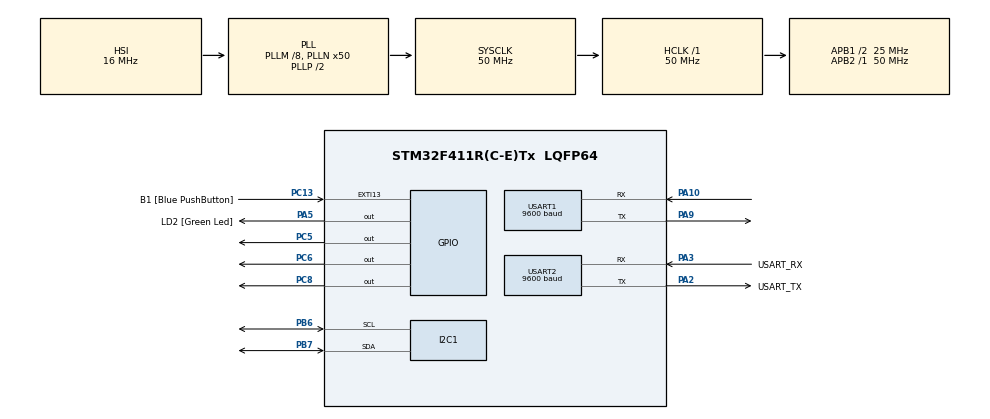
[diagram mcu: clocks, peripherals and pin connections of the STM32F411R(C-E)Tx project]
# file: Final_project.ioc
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Mcu.Family=STM32F4
Mcu.Name=STM32F411R(C-E)Tx
Mcu.Package=LQFP64
NVIC.PriorityGroup=NVIC_PRIORITYGROUP_0
NVIC.TIM1_TRG_COM_TIM11_IRQn=true\:0\:0\:false\:false\:true\:true\:true
NVIC.TIM1_UP_TIM10_IRQn=true\:0\:0\:false\:false\:true\:true\:true
PA10.Mode=Asynchronous
PA10.Signal=USART1_RX
PA13.GPIO_Label=TMS
PA13.Mode=Serial_Wire
PA13.Signal=SYS_JTMS-SWDIO
PA14.GPIO_Label=TCK
PA14.Mode=Serial_Wire
PA14.Signal=SYS_JTCK-SWCLK
PA2.GPIO_Label=USART_TX
PA2.Mode=Asynchronous
PA2.Signal=USART2_TX
PA3.GPIO_Label=USART_RX
PA3.Mode=Asynchronous
PA3.Signal=USART2_RX
PA5.GPIO_Label=LD2 [Green Led]
PA5.Signal=GPIO_Output
PA9.Mode=Asynchronous
PA9.Signal=USART1_TX
PB3.GPIO_Label=SWO
PB3.Signal=SYS_JTDO-SWO
PB6.Mode=I2C
PB6.Signal=I2C1_SCL
PB7.Mode=I2C
PB7.Signal=I2C1_SDA
PC13-ANTI_TAMP.GPIO_Label=B1 [Blue PushButton]
PC13-ANTI_TAMP.GPIO_ModeDefaultEXTI=GPIO_MODE_IT_FALLING
PC13-ANTI_TAMP.Signal=GPXTI13
PC14-OSC32_IN.Mode=LSE-External-Oscillator
PC14-OSC32_IN.Signal=RCC_OSC32_IN
PC15-OSC32_OUT.Mode=LSE-External-Oscillator
PC15-OSC32_OUT.Signal=RCC_OSC32_OUT
PC5.Signal=GPIO_Output
PC6.Signal=GPIO_Output
PC8.Signal=GPIO_Output
PH0\ -\ OSC_IN.Mode=HSE-External-Clock-Source
PH0\ -\ OSC_IN.Signal=RCC_OSC_IN
PH1\ -\ OSC_OUT.Mode=HSE-External-Clock-Source
PH1\ -\ OSC_OUT.Signal=RCC_OSC_OUT
ProjectManager.HeapSize=0x200
ProjectManager.StackSize=0x400
ProjectManager.TargetToolchain=STM32CubeIDE
RCC.48MHZClocksFreq_Value=25000000
RCC.AHBFreq_Value=50000000
RCC.APB1CLKDivider=RCC_HCLK_DIV2
RCC.APB1Freq_Value=25000000
RCC.APB1TimFreq_Value=50000000
RCC.APB2Freq_Value=50000000
RCC.APB2TimFreq_Value=50000000
RCC.CortexFreq_Value=50000000
RCC.FLatency-AdvancedSettings=FLASH_LATENCY_1
RCC.HCLKFreq_Value=50000000
RCC.HSE_VALUE=8000000
RCC.HSI_VALUE=16000000
RCC.PLLM=8
RCC.PLLN=50
RCC.SYSCLKFreq_VALUE=50000000
RCC.SYSCLKSource=RCC_SYSCLKSOURCE_PLLCLK
RCC.VCOOutputFreq_Value=100000000
TIM10.AutoReloadPreload=TIM_AUTORELOAD_PRELOAD_ENABLE
TIM10.Period=1000-1
TIM10.Prescaler=50000-1
TIM11.AutoReloadPreload=TIM_AUTORELOAD_PRELOAD_ENABLE
TIM11.Period=10000-1
TIM11.Prescaler=5000-1
USART1.BaudRate=9600
USART1.VirtualMode=VM_ASYNC
USART2.BaudRate=9600
USART2.VirtualMode=VM_ASYNC
VP_TIM10_VS_ClockSourceINT.Mode=Enable_Timer
VP_TIM11_VS_ClockSourceINT.Mode=Enable_Timer
board=NUCLEO-F411RE

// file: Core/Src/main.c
/* USER CODE BEGIN Header */
/**
  ******************************************************************************
  * @file           : main.c
  * @brief          : Main program body
  ******************************************************************************
  * @attention
  *
  * Copyright (c) 2022 STMicroelectronics.
  * All rights reserved.
  *
  * This software is licensed under terms that can be found in the LICENSE file
  * in the root directory of this software component.
  * If no LICENSE file comes with this software, it is provided AS-IS.
  *
  ******************************************************************************
  */
/* USER CODE END Header */
#include "main.h"

/* USER CODE BEGIN Includes */
#include "PAJ7620U2.h"
/* USER CODE END Includes */

/* USER CODE BEGIN PD */
#define UBYTE   uint8_t
#define UWORD   uint16_t
#define UDOUBLE uint32_t

/**
* IIC
**/
#define IIC_Addr	0x73<<1

/**
 * delay x ms
**/
#define DEV_Delay_ms(__xms)	HAL_Delay(__xms)
/* USER CODE END PD */

I2C_HandleTypeDef hi2c1;

TIM_HandleTypeDef htim10;
TIM_HandleTypeDef htim11;

UART_HandleTypeDef huart1;
UART_HandleTypeDef huart2;

void SystemClock_Config(void);
static void MX_GPIO_Init(void);
static void MX_USART2_UART_Init(void);
static void MX_I2C1_Init(void);
static void MX_TIM10_Init(void);
static void MX_USART1_UART_Init(void);
static void MX_TIM11_Init(void);

/* USER CODE BEGIN 0 */

unsigned char i;
unsigned short Gesture_Data;
UWORD IIC_Addr_t = IIC_Addr;

void DEV_Set_I2CAddress(UBYTE add_) {
	IIC_Addr_t = add_;
}

/******************************************************************************
function:
	I2C Write and Read
******************************************************************************/
void DEV_I2C_WriteByte(UBYTE add_, UBYTE data_) {
  UBYTE Buf[1] = {0};
  Buf[0] = data_;
  HAL_I2C_Mem_Write(&hi2c1, IIC_Addr_t, add_, I2C_MEMADD_SIZE_8BIT, Buf, 1, 0x10);
}

void DEV_I2C_WriteWord(UBYTE add_, UWORD data_) {
  UBYTE Buf[2] = {0};
  Buf[0] = data_ >> 8;
  Buf[1] = data_;
  HAL_I2C_Mem_Write(&hi2c1, IIC_Addr_t, add_, I2C_MEMADD_SIZE_8BIT, Buf, 2, 0x10);
}

UBYTE DEV_I2C_ReadByte(UBYTE add_) {
  UBYTE Buf[1] = {add_};
  HAL_I2C_Mem_Read(&hi2c1, IIC_Addr_t, add_, I2C_MEMADD_SIZE_8BIT, Buf, 1, 0x10);
  return Buf[0];
}

UWORD DEV_I2C_ReadWord(UBYTE add_) {
  UBYTE Buf[2] = {0, 0};
  HAL_I2C_Mem_Read(&hi2c1, IIC_Addr_t, add_, I2C_MEMADD_SIZE_8BIT, Buf, 2, 0x10);
  return ((Buf[1] << 8) | (Buf[0] & 0xff));
}

unsigned char PAJ7620U2_init() {
	unsigned char i,State;
	DEV_Set_I2CAddress(PAJ7620U2_I2C_ADDRESS);
	DEV_Delay_ms(5);
	State = DEV_I2C_ReadByte(0x00);												//Read State
	if (State != 0x20)
		return 0;																						//Wake up failed
	DEV_I2C_WriteByte(PAJ_BANK_SELECT, 0);								//Select Bank 0
	for (i=0;i< Init_Array;i++) {
		 DEV_I2C_WriteByte(Init_Register_Array[i][0], Init_Register_Array[i][1]);//Power up initialize
	}
	return 1;
}
char statearr[15];
char gesturearr[16];
char valuearr[16];
int value[4] = {0,0,0,0};
int digit[4] = {1000,100,10,1};
int idx=3;
int state=0;
int counter=0;
char sentbuffer[7];
char recievebuffer[3];

void HAL_TIM_PeriodElapsedCallback(TIM_HandleTypeDef *htim) {
	 if (htim ==& htim10) {
		 counter++;
	  } else if (htim == &htim11) {
      if (state == 1) {
        if (counter <= 30) {
          HAL_GPIO_TogglePin(GPIOC, GPIO_PIN_6);
          htim11.Instance->CNT = 0;
        } else if (counter <= 50) {
          HAL_GPIO_TogglePin(GPIOC, GPIO_PIN_6);
          htim11.Instance->CNT = 8000;
        } else if (counter <= 60) {
          HAL_GPIO_TogglePin(GPIOC, GPIO_PIN_6);
          htim11.Instance->CNT = 9000;
        } else {
          resetstate();
        }
      }
	  }
}

void resetstate() {
	HAL_GPIO_WritePin(GPIOC, GPIO_PIN_8, GPIO_PIN_SET);
	HAL_GPIO_WritePin(GPIOC, GPIO_PIN_6, GPIO_PIN_SET);
	HAL_GPIO_WritePin(GPIOC, GPIO_PIN_5, GPIO_PIN_RESET);
	memset(value,0,sizeof(value));
	counter = 0;
	state = 0;
	idx = 3;
}

void check_password() {
	if (state == 1) {
		sprintf(sentbuffer,"2%d%d%d%d%d\n",idx,value[0],value[1],value[2],value[3]);
		HAL_UART_Transmit(&huart1, sentbuffer, sizeof(sentbuffer), 100);
		while (HAL_UART_Receive(&huart1, recievebuffer, sizeof(recievebuffer), HAL_MAX_DELAY)!=HAL_OK) {
			HAL_GPIO_WritePin(GPIOC, GPIO_PIN_8, GPIO_PIN_SET);
			HAL_GPIO_WritePin(GPIOC, GPIO_PIN_6, GPIO_PIN_SET);
			HAL_GPIO_WritePin(GPIOC, GPIO_PIN_5, GPIO_PIN_SET);
			printf("waiting");
		}
		HAL_GPIO_WritePin(GPIOC, GPIO_PIN_8, GPIO_PIN_RESET);
		HAL_GPIO_WritePin(GPIOC, GPIO_PIN_6, GPIO_PIN_RESET);
		HAL_GPIO_WritePin(GPIOC, GPIO_PIN_5, GPIO_PIN_RESET);
		if (recievebuffer[0] == '1' || recievebuffer[1] == '1' || recievebuffer[2] == '1') {
			HAL_GPIO_WritePin(GPIOC, GPIO_PIN_5, GPIO_PIN_SET);
			state = 2;
		} else {
			resetstate();
		}
		memset(value,0,sizeof(value));
		counter = 0;
		idx = 3;
	} else if (state == 2) {
		sprintf(sentbuffer,"3%d%d%d%d%d\n",idx,value[0],value[1],value[2],value[3]);
		HAL_UART_Transmit(&huart1, sentbuffer, sizeof(sentbuffer), 100);
		resetstate();
	}

}
void updatevalue(){
	Gesture_Data = DEV_I2C_ReadWord(PAJ_INT_FLAG1);
	if (Gesture_Data) {
		switch (Gesture_Data) {
			case PAJ_UP:
				sprintf(gesturearr,"Up\r\n");
				value[idx] = (value[idx] + 1) % 10;
				break;
			case PAJ_DOWN:
				sprintf(gesturearr,"Down\r\n");
				value[idx] = (value[idx] + 10 - 1) % 10;
				break;
			case PAJ_LEFT:
				sprintf(gesturearr,"Left\r\n");
				idx = (idx + 4 - 1) % 4;
				break;
			case PAJ_RIGHT:
				sprintf(gesturearr,"Right\r\n");
				idx = (idx + 1) % 4;
				break;
			case PAJ_FORWARD:
        sprintf(gesturearr,"Forward\r\n");
        break;
			case PAJ_BACKWARD:
      	sprintf(gesturearr,"Backward\r\n");
        break;
			case PAJ_CLOCKWISE:
        sprintf(gesturearr,"Clockwise\r\n");
        break;
			case PAJ_COUNT_CLOCKWISE:
				sprintf(gesturearr,"AntiClockwise\r\n");
				check_password();
				break;
			case PAJ_WAVE:
        sprintf(gesturearr,"Wave\r\n");
      	break;
			default: break;
		}
		HAL_UART_Transmit(&huart2, gesturearr, sizeof(gesturearr), 50);
		sprintf(sentbuffer,"1%d%d%d%d%d\n",idx,value[0],value[1],value[2],value[3]);
		HAL_UART_Transmit(&huart2, sentbuffer, sizeof(sentbuffer), 100);
		HAL_UART_Transmit(&huart1, sentbuffer, sizeof(sentbuffer), 100);
		memset(gesturearr,0,15);
		Gesture_Data = 0;
		DEV_Delay_ms(1000);
	}
}
/* USER CODE END 0 */

int main(void)
{

  /* MCU Configuration--------------------------------------------------------*/

  /* Reset of all peripherals, Initializes the Flash interface and the Systick. */
  HAL_Init();

  /* Configure the system clock */
  SystemClock_Config();

  /* Initialize all configured peripherals */
  MX_GPIO_Init();
  MX_USART2_UART_Init();
  MX_I2C1_Init();
  MX_TIM10_Init();
  MX_USART1_UART_Init();
  MX_TIM11_Init();
  /* USER CODE BEGIN 2 */
  HAL_TIM_Base_Start_IT(&htim10);
  HAL_TIM_Base_Start_IT(&htim11);
	if(!PAJ7620U2_init()){
    printf("\nGesture Sensor Error\r\n");
		return 0;
	}
	printf("\nGesture Sensor OK\r\n");
	DEV_I2C_WriteByte(PAJ_BANK_SELECT, 0);																	//Select Bank 0
	for (i = 0; i < Gesture_Array_SIZE; i++) {
		DEV_I2C_WriteByte(Init_Gesture_Array[i][0], Init_Gesture_Array[i][1]);//Gesture register initializes
	}
	HAL_GPIO_WritePin(GPIOC, GPIO_PIN_8, GPIO_PIN_SET);
	HAL_GPIO_WritePin(GPIOC, GPIO_PIN_6, GPIO_PIN_SET);
  /* USER CODE END 2 */

  /* Infinite loop */
  /* USER CODE BEGIN WHILE */
  while (1) {
	  if (state == 0) {
		  HAL_GPIO_WritePin(GPIOC, GPIO_PIN_8, GPIO_PIN_SET);
		  HAL_GPIO_WritePin(GPIOC, GPIO_PIN_6, GPIO_PIN_SET);
		  HAL_GPIO_WritePin(GPIOC, GPIO_PIN_5, GPIO_PIN_RESET);
		  if (HAL_GPIO_ReadPin(GPIOC, GPIO_PIN_9) == GPIO_PIN_SET) {
        sprintf(statearr,"ok\r\n");
        sprintf(sentbuffer,"130000\n");
        HAL_UART_Transmit(&huart1, sentbuffer, sizeof(sentbuffer), 100);
        HAL_UART_Transmit(&huart2, statearr, sizeof(statearr), 50);
        //HAL_GPIO_WritePin(GPIOA, GPIO_PIN_5, GPIO_PIN_SET);
        HAL_GPIO_WritePin(GPIOC, GPIO_PIN_8, GPIO_PIN_RESET);
        state = 1;
        counter = 0;
		  } else {
        sprintf(statearr,"off\r\n");
        sprintf(sentbuffer,"430000\n");
        HAL_UART_Transmit(&huart1, sentbuffer, sizeof(sentbuffer), 100);
        HAL_UART_Transmit(&huart2, statearr, sizeof(statearr), 50);
        //HAL_GPIO_WritePin(GPIOA, GPIO_PIN_5, GPIO_PIN_RESET);
		  }
		  HAL_Delay(500);
	  } else if (state == 1) {
		    updatevalue();
	  } else if (state == 2){
			if (counter <= 60) {
				HAL_GPIO_WritePin(GPIOC, GPIO_PIN_5, GPIO_PIN_SET);
				updatevalue();
			} else {
				HAL_GPIO_WritePin(GPIOC, GPIO_PIN_5, GPIO_PIN_RESET);
				state = 0;
				counter = 0;
			}
	 }

    /* USER CODE END WHILE */

  }
}

void SystemClock_Config(void)
{
  RCC_OscInitTypeDef RCC_OscInitStruct = {0};
  RCC_ClkInitTypeDef RCC_ClkInitStruct = {0};

  /** Configure the main internal regulator output voltage
  */
  __HAL_RCC_PWR_CLK_ENABLE();
  __HAL_PWR_VOLTAGESCALING_CONFIG(PWR_REGULATOR_VOLTAGE_SCALE1);
  /** Initializes the RCC Oscillators according to the specified parameters
  * in the RCC_OscInitTypeDef structure.
  */
  RCC_OscInitStruct.OscillatorType = RCC_OSCILLATORTYPE_HSI;
  RCC_OscInitStruct.HSIState = RCC_HSI_ON;
  RCC_OscInitStruct.HSICalibrationValue = RCC_HSICALIBRATION_DEFAULT;
  RCC_OscInitStruct.PLL.PLLState = RCC_PLL_ON;
  RCC_OscInitStruct.PLL.PLLSource = RCC_PLLSOURCE_HSI;
  RCC_OscInitStruct.PLL.PLLM = 8;
  RCC_OscInitStruct.PLL.PLLN = 50;
  RCC_OscInitStruct.PLL.PLLP = RCC_PLLP_DIV2;
  RCC_OscInitStruct.PLL.PLLQ = 4;
  if (HAL_RCC_OscConfig(&RCC_OscInitStruct) != HAL_OK)
  {
    Error_Handler();
  }
  /** Initializes the CPU, AHB and APB buses clocks
  */
  RCC_ClkInitStruct.ClockType = RCC_CLOCKTYPE_HCLK|RCC_CLOCKTYPE_SYSCLK
                              |RCC_CLOCKTYPE_PCLK1|RCC_CLOCKTYPE_PCLK2;
  RCC_ClkInitStruct.SYSCLKSource = RCC_SYSCLKSOURCE_PLLCLK;
  RCC_ClkInitStruct.AHBCLKDivider = RCC_SYSCLK_DIV1;
  RCC_ClkInitStruct.APB1CLKDivider = RCC_HCLK_DIV2;
  RCC_ClkInitStruct.APB2CLKDivider = RCC_HCLK_DIV1;

  if (HAL_RCC_ClockConfig(&RCC_ClkInitStruct, FLASH_LATENCY_1) != HAL_OK)
  {
    Error_Handler();
  }
}

static void MX_I2C1_Init(void)
{

  hi2c1.Instance = I2C1;
  hi2c1.Init.ClockSpeed = 100000;
  hi2c1.Init.DutyCycle = I2C_DUTYCYCLE_2;
  hi2c1.Init.OwnAddress1 = 0;
  hi2c1.Init.AddressingMode = I2C_ADDRESSINGMODE_7BIT;
  hi2c1.Init.DualAddressMode = I2C_DUALADDRESS_DISABLE;
  hi2c1.Init.OwnAddress2 = 0;
  hi2c1.Init.GeneralCallMode = I2C_GENERALCALL_DISABLE;
  hi2c1.Init.NoStretchMode = I2C_NOSTRETCH_DISABLE;
  if (HAL_I2C_Init(&hi2c1) != HAL_OK)
  {
    Error_Handler();
  }

}

static void MX_TIM10_Init(void)
{

  htim10.Instance = TIM10;
  htim10.Init.Prescaler = 50000-1;
  htim10.Init.CounterMode = TIM_COUNTERMODE_UP;
  htim10.Init.Period = 1000-1;
  htim10.Init.ClockDivision = TIM_CLOCKDIVISION_DIV1;
  htim10.Init.AutoReloadPreload = TIM_AUTORELOAD_PRELOAD_ENABLE;
  if (HAL_TIM_Base_Init(&htim10) != HAL_OK)
  {
    Error_Handler();
  }

}

static void MX_TIM11_Init(void)
{

  htim11.Instance = TIM11;
  htim11.Init.Prescaler = 5000-1;
  htim11.Init.CounterMode = TIM_COUNTERMODE_UP;
  htim11.Init.Period = 10000-1;
  htim11.Init.ClockDivision = TIM_CLOCKDIVISION_DIV1;
  htim11.Init.AutoReloadPreload = TIM_AUTORELOAD_PRELOAD_ENABLE;
  if (HAL_TIM_Base_Init(&htim11) != HAL_OK)
  {
    Error_Handler();
  }

}

static void MX_USART1_UART_Init(void)
{

  huart1.Instance = USART1;
  huart1.Init.BaudRate = 9600;
  huart1.Init.WordLength = UART_WORDLENGTH_8B;
  huart1.Init.StopBits = UART_STOPBITS_1;
  huart1.Init.Parity = UART_PARITY_NONE;
  huart1.Init.Mode = UART_MODE_TX_RX;
  huart1.Init.HwFlowCtl = UART_HWCONTROL_NONE;
  huart1.Init.OverSampling = UART_OVERSAMPLING_16;
  if (HAL_UART_Init(&huart1) != HAL_OK)
  {
    Error_Handler();
  }

}

static void MX_USART2_UART_Init(void)
{

  huart2.Instance = USART2;
  huart2.Init.BaudRate = 9600;
  huart2.Init.WordLength = UART_WORDLENGTH_8B;
  huart2.Init.StopBits = UART_STOPBITS_1;
  huart2.Init.Parity = UART_PARITY_NONE;
  huart2.Init.Mode = UART_MODE_TX_RX;
  huart2.Init.HwFlowCtl = UART_HWCONTROL_NONE;
  huart2.Init.OverSampling = UART_OVERSAMPLING_16;
  if (HAL_UART_Init(&huart2) != HAL_OK)
  {
    Error_Handler();
  }

}

static void MX_GPIO_Init(void)
{
  GPIO_InitTypeDef GPIO_InitStruct = {0};

  /* GPIO Ports Clock Enable */
  __HAL_RCC_GPIOC_CLK_ENABLE();
  __HAL_RCC_GPIOH_CLK_ENABLE();
  __HAL_RCC_GPIOA_CLK_ENABLE();
  __HAL_RCC_GPIOB_CLK_ENABLE();

  /*Configure GPIO pin Output Level */
  HAL_GPIO_WritePin(LD2_GPIO_Port, LD2_Pin, GPIO_PIN_RESET);

  /*Configure GPIO pin Output Level */
  HAL_GPIO_WritePin(GPIOC, GPIO_PIN_5|GPIO_PIN_6|GPIO_PIN_8, GPIO_PIN_RESET);

  /*Configure GPIO pin : B1_Pin */
  GPIO_InitStruct.Pin = B1_Pin;
  GPIO_InitStruct.Mode = GPIO_MODE_IT_FALLING;
  GPIO_InitStruct.Pull = GPIO_NOPULL;
  HAL_GPIO_Init(B1_GPIO_Port, &GPIO_InitStruct);

  /*Configure GPIO pin : LD2_Pin */
  GPIO_InitStruct.Pin = LD2_Pin;
  GPIO_InitStruct.Mode = GPIO_MODE_OUTPUT_PP;
  GPIO_InitStruct.Pull = GPIO_NOPULL;
  GPIO_InitStruct.Speed = GPIO_SPEED_FREQ_LOW;
  HAL_GPIO_Init(LD2_GPIO_Port, &GPIO_InitStruct);

  /*Configure GPIO pins : PC5 PC6 PC8 */
  GPIO_InitStruct.Pin = GPIO_PIN_5|GPIO_PIN_6|GPIO_PIN_8;
  GPIO_InitStruct.Mode = GPIO_MODE_OUTPUT_PP;
  GPIO_InitStruct.Pull = GPIO_NOPULL;
  GPIO_InitStruct.Speed = GPIO_SPEED_FREQ_LOW;
  HAL_GPIO_Init(GPIOC, &GPIO_InitStruct);

}

void Error_Handler(void)
{
  __disable_irq();
  while (1)
  {
  }
}
